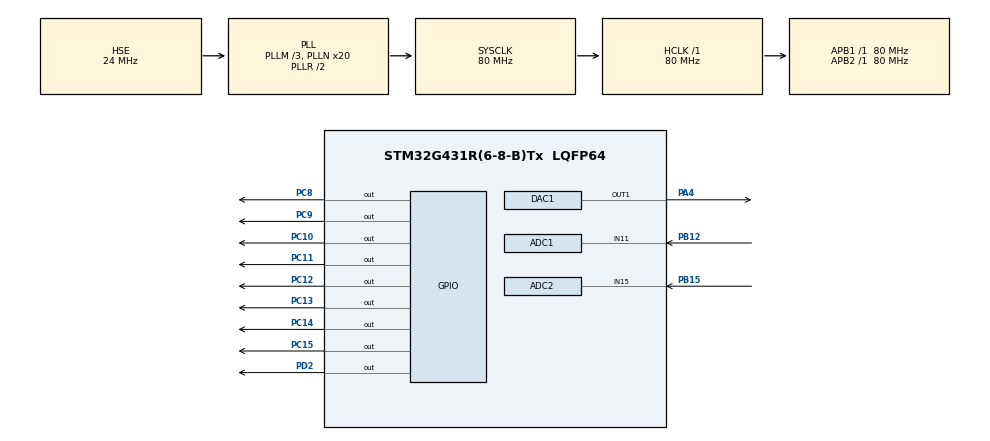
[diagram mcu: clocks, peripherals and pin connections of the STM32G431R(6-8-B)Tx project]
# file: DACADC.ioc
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ADC1.Channel-1\#ChannelRegularConversion=ADC_CHANNEL_11
ADC1.NbrOfConversionFlag=1
ADC1.OffsetNumber-1\#ChannelRegularConversion=ADC_OFFSET_NONE
ADC1.Rank-1\#ChannelRegularConversion=1
ADC1.SamplingTime-1\#ChannelRegularConversion=ADC_SAMPLETIME_2CYCLES_5
ADC1.master=1
ADC2.Channel-0\#ChannelRegularConversion=ADC_CHANNEL_15
ADC2.NbrOfConversionFlag=1
ADC2.OffsetNumber-0\#ChannelRegularConversion=ADC_OFFSET_NONE
ADC2.Rank-0\#ChannelRegularConversion=1
ADC2.SamplingTime-0\#ChannelRegularConversion=ADC_SAMPLETIME_2CYCLES_5
Mcu.Family=STM32G4
Mcu.Name=STM32G431R(6-8-B)Tx
Mcu.Package=LQFP64
NVIC.PriorityGroup=NVIC_PRIORITYGROUP_4
PA13.Mode=Serial_Wire
PA13.Signal=SYS_JTMS-SWDIO
PA14.Mode=Serial_Wire
PA14.Signal=SYS_JTCK-SWCLK
PA4.Signal=COMP_DAC11_group
PB12.Mode=IN11-Single-Ended
PB12.Signal=ADC1_IN11
PB15.Mode=IN15-Single-Ended
PB15.Signal=ADC2_IN15
PC10.Signal=GPIO_Output
PC11.Signal=GPIO_Output
PC12.Signal=GPIO_Output
PC13.Signal=GPIO_Output
PC14-OSC32_IN.Signal=GPIO_Output
PC15-OSC32_OUT.Signal=GPIO_Output
PC8.Signal=GPIO_Output
PC9.Signal=GPIO_Output
PD2.Signal=GPIO_Output
PF0-OSC_IN.Mode=HSE-External-Oscillator
PF0-OSC_IN.Signal=RCC_OSC_IN
PF1-OSC_OUT.Mode=HSE-External-Oscillator
PF1-OSC_OUT.Signal=RCC_OSC_OUT
ProjectManager.HeapSize=0x200
ProjectManager.StackSize=0x400
ProjectManager.TargetToolchain=MDK-ARM V5.27
RCC.ADC12Freq_Value=80000000
RCC.AHBFreq_Value=80000000
RCC.APB1Freq_Value=80000000
RCC.APB1TimFreq_Value=80000000
RCC.APB2Freq_Value=80000000
RCC.APB2TimFreq_Value=80000000
RCC.CortexFreq_Value=80000000
RCC.EXTERNAL_CLOCK_VALUE=12288000
RCC.HCLKFreq_Value=80000000
RCC.HSE_VALUE=24000000
RCC.HSI48_VALUE=48000000
RCC.HSI_VALUE=16000000
RCC.LSE_VALUE=32768
RCC.PLLM=RCC_PLLM_DIV3
RCC.PLLN=20
RCC.PLLSourceVirtual=RCC_PLLSOURCE_HSE
RCC.SYSCLKFreq_VALUE=80000000
RCC.SYSCLKSource=RCC_SYSCLKSOURCE_PLLCLK
RCC.USBFreq_Value=80000000
RCC.VCOOutputFreq_Value=160000000
SH.COMP_DAC11_group.0=DAC1_OUT1,DAC_OUT1
VP_SYS_VS_DBSignals.Mode=DisableDeadBatterySignals
board=custom

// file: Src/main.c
/* USER CODE BEGIN Header */
/**
  ******************************************************************************
  * @file           : main.c
  * @brief          : Main program body
  ******************************************************************************
  * @attention
  *
  * <h2><center>&copy; Copyright (c) 2023 STMicroelectronics.
  * All rights reserved.</center></h2>
  *
  * This software component is licensed by ST under BSD 3-Clause license,
  * the "License"; You may not use this file except in compliance with the
  * License. You may obtain a copy of the License at:
  *                        opensource.org/licenses/BSD-3-Clause
  *
  ******************************************************************************
  */
/* USER CODE END Header */

#include "main.h"
#include "adc.h"
#include "dac.h"
#include "gpio.h"

/* USER CODE BEGIN Includes */
#include "lcd_hal.h"
#include "stdio.h"
/* USER CODE END Includes */

/* USER CODE BEGIN PV */
char Lcd_Line1[20];
char Lcd_Line2[20];
char Lcd_Line3[20];
uint16_t R37_Value=0;
uint16_t R38_Value=0;

float Dac_Set_Value=1.3;
/* USER CODE END PV */

void SystemClock_Config(void);
/* USER CODE BEGIN PFP */
void CloseLed(void);
/* USER CODE END PFP */

int main(void)
{

  /* MCU Configuration--------------------------------------------------------*/

  /* Reset of all peripherals, Initializes the Flash interface and the Systick. */
  HAL_Init();

  /* Configure the system clock */
  SystemClock_Config();

  /* Initialize all configured peripherals */
  MX_GPIO_Init();
  MX_ADC2_Init();
  MX_ADC1_Init();
  MX_DAC1_Init();
  /* USER CODE BEGIN 2 */
  HAL_DAC_Start(&hdac1,DAC_CHANNEL_1);
  CloseLed();
	LCD_Init();
	LCD_Clear(Black);
	LCD_SetTextColor(White);
	LCD_SetBackColor(Black);
	LCD_DisplayStringLine(Line0, "DAC ADC Test Progrom");
  /* USER CODE END 2 */

  /* Infinite loop */
  /* USER CODE BEGIN WHILE */
  while (1)
  {
	 R37_Value= GetAdcR37();
	 sprintf( Lcd_Line1,"R37_Value:%.2fV",R37_Value*3.3/4096);
	  LCD_DisplayStringLine(Line1, (uint8_t*)Lcd_Line1);

	  R38_Value= GetAdcR38();
	 sprintf( Lcd_Line2,"R38_Value:%.2fV",R38_Value*3.3/4096);
	  LCD_DisplayStringLine(Line2, (uint8_t*)Lcd_Line2);

	  SetDavValue(Dac_Set_Value);
	  sprintf(Lcd_Line3,"Dac_Set_Value:%.2f",Dac_Set_Value);
	  LCD_DisplayStringLine(Line3, (uint8_t*)Lcd_Line3);
	  HAL_Delay(500);
    /* USER CODE END WHILE */

  }
}

void SystemClock_Config(void)
{
  RCC_OscInitTypeDef RCC_OscInitStruct = {0};
  RCC_ClkInitTypeDef RCC_ClkInitStruct = {0};
  RCC_PeriphCLKInitTypeDef PeriphClkInit = {0};

  /** Configure the main internal regulator output voltage
  */
  HAL_PWREx_ControlVoltageScaling(PWR_REGULATOR_VOLTAGE_SCALE1);
  /** Initializes the CPU, AHB and APB busses clocks
  */
  RCC_OscInitStruct.OscillatorType = RCC_OSCILLATORTYPE_HSE;
  RCC_OscInitStruct.HSEState = RCC_HSE_ON;
  RCC_OscInitStruct.PLL.PLLState = RCC_PLL_ON;
  RCC_OscInitStruct.PLL.PLLSource = RCC_PLLSOURCE_HSE;
  RCC_OscInitStruct.PLL.PLLM = RCC_PLLM_DIV3;
  RCC_OscInitStruct.PLL.PLLN = 20;
  RCC_OscInitStruct.PLL.PLLP = RCC_PLLP_DIV2;
  RCC_OscInitStruct.PLL.PLLQ = RCC_PLLQ_DIV2;
  RCC_OscInitStruct.PLL.PLLR = RCC_PLLR_DIV2;
  if (HAL_RCC_OscConfig(&RCC_OscInitStruct) != HAL_OK)
  {
    Error_Handler();
  }
  /** Initializes the CPU, AHB and APB busses clocks
  */
  RCC_ClkInitStruct.ClockType = RCC_CLOCKTYPE_HCLK|RCC_CLOCKTYPE_SYSCLK
                              |RCC_CLOCKTYPE_PCLK1|RCC_CLOCKTYPE_PCLK2;
  RCC_ClkInitStruct.SYSCLKSource = RCC_SYSCLKSOURCE_PLLCLK;
  RCC_ClkInitStruct.AHBCLKDivider = RCC_SYSCLK_DIV1;
  RCC_ClkInitStruct.APB1CLKDivider = RCC_HCLK_DIV1;
  RCC_ClkInitStruct.APB2CLKDivider = RCC_HCLK_DIV1;

  if (HAL_RCC_ClockConfig(&RCC_ClkInitStruct, FLASH_LATENCY_3) != HAL_OK)
  {
    Error_Handler();
  }
  /** Initializes the peripherals clocks
  */
  PeriphClkInit.PeriphClockSelection = RCC_PERIPHCLK_ADC12;
  PeriphClkInit.Adc12ClockSelection = RCC_ADC12CLKSOURCE_SYSCLK;
  if (HAL_RCCEx_PeriphCLKConfig(&PeriphClkInit) != HAL_OK)
  {
    Error_Handler();
  }
}

/* USER CODE BEGIN 4 */
void CloseLed(void)
{
	HAL_GPIO_WritePin(GPIOC, GPIO_PIN_8 | GPIO_PIN_9 | GPIO_PIN_10 | GPIO_PIN_11 | GPIO_PIN_12 | GPIO_PIN_13 | GPIO_PIN_14 | GPIO_PIN_15 ,GPIO_PIN_SET);
	HAL_GPIO_WritePin(GPIOD,GPIO_PIN_2,GPIO_PIN_SET);
	HAL_GPIO_WritePin(GPIOD,GPIO_PIN_2,GPIO_PIN_RESET);
}
/* USER CODE END 4 */

void Error_Handler(void)
{
}

/************************ (C) COPYRIGHT STMicroelectronics *****END OF FILE****/
